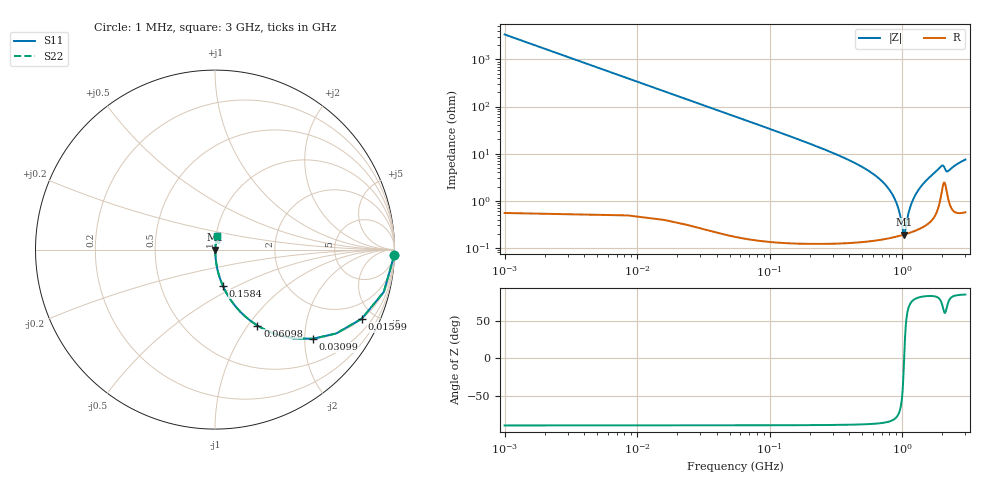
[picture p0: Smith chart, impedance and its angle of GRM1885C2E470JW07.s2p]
!Murata Part Number: GRM1885C2E470JW07
!These Parameters are Measured in Series Mode Connection
!Data Generated on Mar 30, 2021
!  o--ll--o
!Port1  Port2
!  o------o
!Operation Temp=25[degC], DC Bias Voltage=0[V]
!Freq. Start=1000[kHz] Stop=3[GHz] 401[Steps]
# Hz S RI R 50
!Freq.(Hz) S11(Real) S11(Imag) S21(Real) S21(Imag) S12(Real) S12(Imag) S22(Real) S22(Imag)
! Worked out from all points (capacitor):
!   401 points, 1 MHz to 3 GHz, reference 50 ohm
!   read as one part in series: C = 46.9 pF near 15.99 MHz
!   lowest |Z| = 192 mohm at 1.036 GHz (marker M1)
!   series resonance near 1.035 GHz, so ESL is about 500 pH
!   S11 on the Smith chart (normalised r, x): 1 MHz: 1, -68; 15.99 MHz: 1.01, -4.24; 30.99 MHz: 1.01, -2.19; 60.98 MHz: 1.00, -1.11; 158.4 MHz: 1.00, -0.42; 3 GHz: 1.01, +0.15
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1000000  0.9991 -0.0295  0.000876 0.0295  0.000876 0.0295  0.9991 -0.0295
1.5995e7  0.8174 -0.3855  0.1826 0.3855  0.1826 0.3855  0.8174 -0.3855
2.34925e7  0.6752 -0.4672  0.3248 0.4672  0.3248 0.4672  0.6752 -0.4672
3.099e7  0.5446 -0.4968  0.4554 0.4968  0.4554 0.4968  0.5446 -0.4968
6.098e7  0.236 -0.4232  0.764 0.4232  0.764 0.4232  0.236 -0.4232
9.84675e7  0.1055 -0.3052  0.8945 0.3052  0.8945 0.3052  0.1055 -0.3052
1.584475e8  0.043 -0.2  0.957 0.2  0.957 0.2  0.043 -0.2
2.85905e8  0.0131 -0.1082  0.9869 0.1082  0.9869 0.1082  0.0131 -0.1082
5.033325e8  0.00397 -0.0513  0.996 0.0513  0.996 0.0513  0.00397 -0.0513
7.132625e8  0.00213 -0.025  0.9979 0.025  0.9979 0.025  0.00213 -0.025
8.482175e8  0.00183 -0.0132  0.9982 0.0132  0.9982 0.0132  0.00183 -0.0132
9.381875e8  0.00181 -0.00647  0.9982 0.00647  0.9982 0.00647  0.00181 -0.00647
1.005665e9  0.00187 -0.00189  0.9981 0.00189  0.9981 0.00189  0.00187 -0.00189
1.035655e9  0.00191 4.67e-05  0.9981 -4.67e-05  0.9981 -4.67e-05  0.00191 4.67e-05
1.125625e9  0.00209 0.00556  0.9979 -0.00556  0.9979 -0.00556  0.00209 0.00556
1.2006e9  0.00229 0.00988  0.9977 -0.00988  0.9977 -0.00988  0.00229 0.00988
1.328058e9  0.00275 0.0168  0.9973 -0.0168  0.9973 -0.0168  0.00275 0.0168
1.5005e9  0.00362 0.0256  0.9964 -0.0256  0.9964 -0.0256  0.00362 0.0256
2.002832e9  0.0195 0.0512  0.9805 -0.0512  0.9805 -0.0512  0.0195 0.0512
2.182772e9  0.0155 0.0382  0.9845 -0.0382  0.9845 -0.0382  0.0155 0.0382
2.505165e9  0.00876 0.0551  0.9912 -0.0551  0.9912 -0.0551  0.00876 0.0551
3e9  0.0111 0.0735  0.9889 -0.0735  0.9889 -0.0735  0.0111 0.0735
